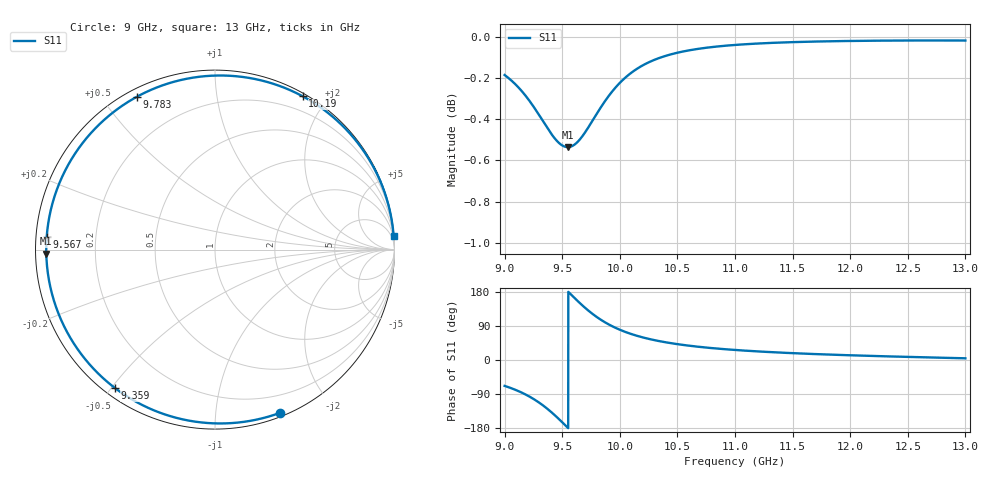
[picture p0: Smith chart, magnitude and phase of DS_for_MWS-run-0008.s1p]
! TOUCHSTONE file generated by CST DESIGN STUDIO
! Date and time: Tue Feb  4 13:38:59 2025
! Project name: C:\Work\MatlabApps\UnitCellOptimizationMatlab\CST\unitcell.cst
! Tree item: Tasks\Sweep1\SPara1\S-Parameters
! Header version: 2024
! Port assignment regex: !\s*Touchstone port\s*([0-9]+)\s*=\s*(CST MWS port|CST DES external port|CST DES block port)\s*(.+)\s* \(\"(.*)\"\)(\s*mode\s*([0-9]+))?.*
! Touchstone port assignment:
! Touchstone port 1 = CST DES external port 1 ("")
# GHz S MA R 50
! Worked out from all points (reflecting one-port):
!   4001 points, 9 GHz to 13 GHz, reference 50 ohm
!   lowest |S11| = -0.5 dB at 9.548 GHz (marker M1), VSWR 32.48, Z = 1.54 - j0.589 ohm
!   phase of S11 starts at -68 deg and turns -287 deg over the sweep
!   S11 on the Smith chart (normalised r, x): 9 GHz: 0.03, -1.47; 9.359 GHz: 0.03, -0.51; 9.567 GHz: 0.03, +0.04; 9.783 GHz: 0.03, +0.61; 10.19 GHz: 0.03, +1.72; 13 GHz: 1, +25
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9  0.979 -68.3
9.103  0.9733 -79.9
9.214  0.9651 -96.2
9.29  0.9582 -110.5
9.359  0.9515 -125.8
9.427  0.9455 -143.3
9.465  0.9429 -154.0
9.5  0.9412 -164.2
9.548  0.9403 -178.6
9.567  0.9404 175.6
9.621  0.9423 159.5
9.682  0.9466 142.2
9.732  0.9512 129.2
9.783  0.9563 117.2
9.829  0.9608 107.5
9.879  0.9655 98.1
9.935  0.9701 89.0
10  0.9747 79.9
10.092  0.9799 69.3
10.192  0.984 60.2
10.333  0.9881 50.4
10.5  0.9913 41.8
10.721  0.9938 33.7
11  0.9956 26.5
11.5  0.9972 18.1
12  0.9978 12.4
12.5  0.9981 8.2
13  0.9981 4.5
